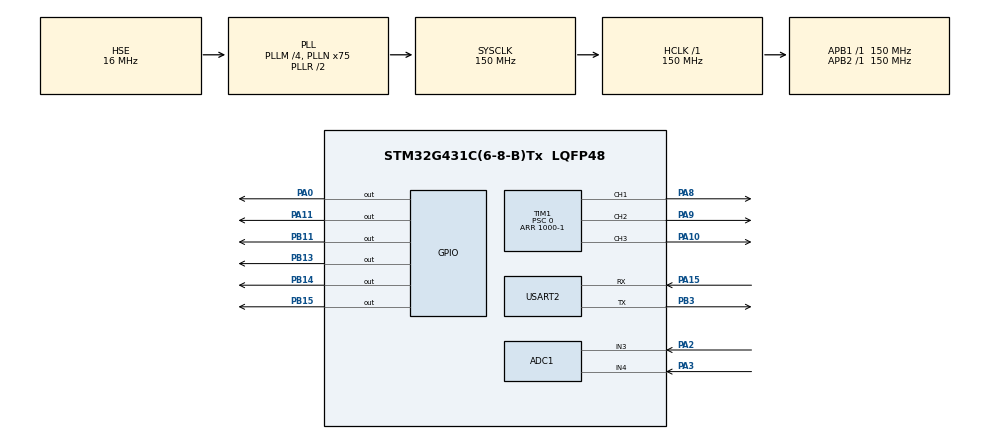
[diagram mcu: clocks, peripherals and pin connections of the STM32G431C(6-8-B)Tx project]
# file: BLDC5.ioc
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ADC1.Channel-0\#ChannelRegularConversion=ADC_CHANNEL_3
ADC1.NbrOfConversionFlag=1
ADC1.OffsetNumber-0\#ChannelRegularConversion=ADC_OFFSET_NONE
ADC1.Rank-0\#ChannelRegularConversion=1
ADC1.SamplingTime-0\#ChannelRegularConversion=ADC_SAMPLETIME_2CYCLES_5
ADC1.master=1
Mcu.Family=STM32G4
Mcu.Name=STM32G431C(6-8-B)Tx
Mcu.Package=LQFP48
NVIC.PriorityGroup=NVIC_PRIORITYGROUP_4
NVIC.TIM2_IRQn=true\:0\:0\:false\:false\:true\:true\:true\:true
NVIC.TIM4_IRQn=true\:0\:0\:false\:false\:true\:true\:true\:true
PA0.Signal=GPIO_Output
PA10.Signal=S_TIM1_CH3
PA11.Signal=GPIO_Output
PA13.Mode=Serial_Wire
PA13.Signal=SYS_JTMS-SWDIO
PA14.Mode=Serial_Wire
PA14.Signal=SYS_JTCK-SWCLK
PA15.Mode=Asynchronous
PA15.Signal=USART2_RX
PA2.Mode=IN3-Single-Ended
PA2.Signal=ADC1_IN3
PA3.Mode=IN4-Single-Ended
PA3.Signal=ADC1_IN4
PA8.Signal=S_TIM1_CH1
PA9.Signal=S_TIM1_CH2
PB11.GPIO_PuPd=GPIO_PULLDOWN
PB11.GPIO_Speed=GPIO_SPEED_FREQ_VERY_HIGH
PB11.Signal=GPIO_Output
PB13.GPIO_PuPd=GPIO_PULLDOWN
PB13.GPIO_Speed=GPIO_SPEED_FREQ_VERY_HIGH
PB13.Signal=GPIO_Output
PB14.GPIO_PuPd=GPIO_PULLDOWN
PB14.GPIO_Speed=GPIO_SPEED_FREQ_VERY_HIGH
PB14.Signal=GPIO_Output
PB15.GPIO_PuPd=GPIO_PULLDOWN
PB15.GPIO_Speed=GPIO_SPEED_FREQ_VERY_HIGH
PB15.Signal=GPIO_Output
PB3.Mode=Asynchronous
PB3.Signal=USART2_TX
PF0-OSC_IN.Mode=HSE-External-Oscillator
PF0-OSC_IN.Signal=RCC_OSC_IN
PF1-OSC_OUT.Mode=HSE-External-Oscillator
PF1-OSC_OUT.Signal=RCC_OSC_OUT
ProjectManager.HeapSize=0x200
ProjectManager.StackSize=0x400
ProjectManager.TargetToolchain=STM32CubeIDE
RCC.ADC12Freq_Value=150000000
RCC.AHBFreq_Value=150000000
RCC.APB1Freq_Value=150000000
RCC.APB1TimFreq_Value=150000000
RCC.APB2Freq_Value=150000000
RCC.APB2TimFreq_Value=150000000
RCC.CortexFreq_Value=150000000
RCC.EXTERNAL_CLOCK_VALUE=12288000
RCC.HCLKFreq_Value=150000000
RCC.HSE_VALUE=16000000
RCC.HSI48_VALUE=48000000
RCC.HSI_VALUE=16000000
RCC.LSE_VALUE=32768
RCC.PLLM=RCC_PLLM_DIV4
RCC.PLLN=75
RCC.PLLSourceVirtual=RCC_PLLSOURCE_HSE
RCC.SYSCLKFreq_VALUE=150000000
RCC.SYSCLKSource=RCC_SYSCLKSOURCE_PLLCLK
RCC.USBFreq_Value=150000000
RCC.VCOOutputFreq_Value=300000000
SH.S_TIM1_CH1.0=TIM1_CH1,PWM Generation1 CH1
SH.S_TIM1_CH2.0=TIM1_CH2,PWM Generation2 CH2
SH.S_TIM1_CH3.0=TIM1_CH3,PWM Generation3 CH3
TIM1.Channel-PWM\ Generation1\ CH1=TIM_CHANNEL_1
TIM1.Channel-PWM\ Generation2\ CH2=TIM_CHANNEL_2
TIM1.Channel-PWM\ Generation3\ CH3=TIM_CHANNEL_3
TIM1.PeriodNoDither=1000-1
TIM1.Prescaler=0
TIM1.PulseNoDither_1=500
TIM1.PulseNoDither_2=500
TIM1.PulseNoDither_3=500
TIM2.PeriodNoDither=1000-1
TIM2.Prescaler=150-1
TIM4.PeriodNoDither=10000-1
TIM4.Prescaler=1500-1
USART2.VirtualMode-Asynchronous=VM_ASYNC
VP_SYS_VS_DBSignals.Mode=DisableDeadBatterySignals
VP_TIM1_VS_ClockSourceINT.Mode=Internal
VP_TIM2_VS_ClockSourceINT.Mode=Internal
VP_TIM4_VS_ClockSourceINT.Mode=Internal
board=custom

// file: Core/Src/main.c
/* USER CODE BEGIN Header */
/**
  ******************************************************************************
  * @file           : main.c
  * @brief          : Main program body
  ******************************************************************************
  * @attention
  *
  * Copyright (c) 2023 STMicroelectronics.
  * All rights reserved.
  *
  * This software is licensed under terms that can be found in the LICENSE file
  * in the root directory of this software component.
  * If no LICENSE file comes with this software, it is provided AS-IS.
  *
  ******************************************************************************
  */
/* USER CODE END Header */
#include "main.h"
#include "adc.h"
#include "tim.h"
#include "usart.h"
#include "gpio.h"

/* USER CODE BEGIN Includes */
#include "AS5047.h"
#include "retarget.h"
#include "interrupt.h"
#include "foc.h"
/* USER CODE END Includes */

void SystemClock_Config(void);

/* USER CODE BEGIN 0 */
extern float target;
extern uint16_t TIM4_10msflag;
extern uint16_t TIM4_1000msflag;
uint16_t interval_count = 0;
/* USER CODE END 0 */

int main(void)
{

  /* MCU Configuration--------------------------------------------------------*/

  /* Reset of all peripherals, Initializes the Flash interface and the Systick. */
  HAL_Init();

  /* Configure the system clock */
  SystemClock_Config();

  /* Initialize all configured peripherals */
  MX_GPIO_Init();
  MX_ADC1_Init();
  MX_TIM1_Init();
  MX_USART2_UART_Init();
  MX_TIM2_Init();
  MX_TIM4_Init();
  /* USER CODE BEGIN 2 */
    Sensor_lnit();

    RetargetInit(&huart2);

    interrupt_Init();

    foc_Init();

  /* USER CODE END 2 */

  /* Infinite loop */
  /* USER CODE BEGIN WHILE */
  while (1)
  {
      {

          /*static float th=0;
          if(th<_2PI)
          th = th +0.1;
          if(th>=_2PI)
              th = 0.1;

          setPhaseVoltage2(2,0,th);*/
             static float angle_last,angle;
            static float speed;
            if(TIM4_10msflag ==1)
            {
                TIM4_10msflag = 0;
                angle = Get_Angle2();
                speed = (abs(angle-angle_last))/0.1f;

            }
            if(TIM4_1000msflag ==1)
            {
                TIM4_1000msflag=0;
                printf("\nangle_last:%f angle:%f speed:%f\n",angle_last,angle,speed);
            }
             angle_last = angle;

          /*move(50);
          loopFOC();*/
          //velocityOpenloop(10.f);
          /*Get_Angle2();
          move(target);
          loopFOC();
          if(++interval_count % 1000 == 0)
          {
              printf("Angle: %.2f", Get_Angle2());
          }*/
      }

      //velocityOpenloop(10.f);
      //angleOpenloop(10);
      //HAL_Delay(200);

      //Get_Angle2();
      /*char buf[100];
      HAL_Delay(500);
      HAL_GPIO_TogglePin(GPIOA,GPIO_PIN_0);
      static float F_Num=0;
      F_Num ++;
      printf("\nHello:%f",F_Num);

      uint16_t Raw_Angle=2;
      Raw_Angle = AS5047_Get_Raw_Angle();
      printf("Raw_Angle:%d",Raw_Angle);*/
    /* USER CODE END WHILE */

  }
}

void SystemClock_Config(void)
{
  RCC_OscInitTypeDef RCC_OscInitStruct = {0};
  RCC_ClkInitTypeDef RCC_ClkInitStruct = {0};

  /** Configure the main internal regulator output voltage
  */
  HAL_PWREx_ControlVoltageScaling(PWR_REGULATOR_VOLTAGE_SCALE1);

  /** Initializes the RCC Oscillators according to the specified parameters
  * in the RCC_OscInitTypeDef structure.
  */
  RCC_OscInitStruct.OscillatorType = RCC_OSCILLATORTYPE_HSE;
  RCC_OscInitStruct.HSEState = RCC_HSE_ON;
  RCC_OscInitStruct.PLL.PLLState = RCC_PLL_ON;
  RCC_OscInitStruct.PLL.PLLSource = RCC_PLLSOURCE_HSE;
  RCC_OscInitStruct.PLL.PLLM = RCC_PLLM_DIV4;
  RCC_OscInitStruct.PLL.PLLN = 75;
  RCC_OscInitStruct.PLL.PLLP = RCC_PLLP_DIV2;
  RCC_OscInitStruct.PLL.PLLQ = RCC_PLLQ_DIV2;
  RCC_OscInitStruct.PLL.PLLR = RCC_PLLR_DIV2;
  if (HAL_RCC_OscConfig(&RCC_OscInitStruct) != HAL_OK)
  {
    Error_Handler();
  }

  /** Initializes the CPU, AHB and APB buses clocks
  */
  RCC_ClkInitStruct.ClockType = RCC_CLOCKTYPE_HCLK|RCC_CLOCKTYPE_SYSCLK
                              |RCC_CLOCKTYPE_PCLK1|RCC_CLOCKTYPE_PCLK2;
  RCC_ClkInitStruct.SYSCLKSource = RCC_SYSCLKSOURCE_PLLCLK;
  RCC_ClkInitStruct.AHBCLKDivider = RCC_SYSCLK_DIV1;
  RCC_ClkInitStruct.APB1CLKDivider = RCC_HCLK_DIV1;
  RCC_ClkInitStruct.APB2CLKDivider = RCC_HCLK_DIV1;

  if (HAL_RCC_ClockConfig(&RCC_ClkInitStruct, FLASH_LATENCY_4) != HAL_OK)
  {
    Error_Handler();
  }
}

void Error_Handler(void)
{
  __disable_irq();
  while (1)
  {
  }
}
